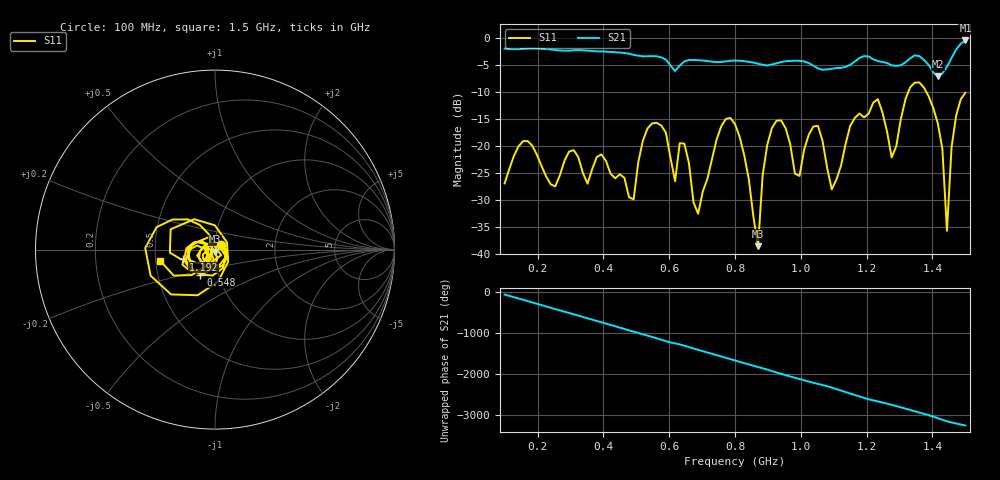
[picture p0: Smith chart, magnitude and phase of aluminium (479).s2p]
! NanoVNA-App
! Date: 2025-09-25 14:59:00
! Start: 100MHz Stop: 1,5GHz Points: 101
! S-Parameter data: F S11 S21 S12 S22
# Hz S RI R 50
!  Frequency  S11_Real  S11_Imag  S21_Real  S21_Imag  S12_Real  S12_Imag  S22_Real  S22_Imag
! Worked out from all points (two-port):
!   101 points, 100 MHz to 1.5 GHz, reference 50 ohm
!   highest |S21| = -0.41 dB at 1.5 GHz (marker M1); lowest = -7.1 dB at 1.416 GHz (marker M2)
!   |S21| within 3 dB of the highest: start of sweep to 566.3 MHz; 1.46 GHz to end of sweep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
!   lowest |S11| = -38.6 dB at 870 MHz (marker M3), VSWR 1.02, Z = 50.2 - j1.16 ohm
!   |S11| at or under -10 dB: start of sweep to 1.326 GHz; 1.382 GHz to end of sweep
!   S12 and S22 are empty: the file has one direction only
!   S11 on the Smith chart (normalised r, x): 100 MHz: 1.07, +0.06; 548 MHz: 0.82, -0.23; 1.192 GHz: 0.70, -0.08; 1.5 GHz: 0.53, -0.07
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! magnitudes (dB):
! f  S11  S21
! 100 MHz  -27.0  -1.9
! 156 MHz  -19.1  -2.0
! 338 MHz  -25.1  -2.2
! 492 MHz  -29.9  -3.1
! 548 MHz  -15.8  -3.3
! 576 MHz  -16.2  -3.5
! 646 MHz  -19.6  -4.3
! 688 MHz  -32.6  -4.1
! 800 MHz  -15.9  -4.2
! 870 MHz  -38.6  -4.7
! 912 MHz  -16.7  -4.9
! 996 MHz  -25.6  -4.2
! 1.038 GHz  -16.4  -5.1
! 1.094 GHz  -28.1  -5.7
! 1.192 GHz  -14.7  -3.3
! 1.234 GHz  -11.3  -4.2
! 1.276 GHz  -22.1  -5.0
! 1.346 GHz  -8.2  -3.2
! 1.416 GHz  -15.8  -7.1
! 1.444 GHz  -35.8  -5.3
! 1.458 GHz  -20.2  -3.6
! 1.5 GHz  -10.1  -0.4
